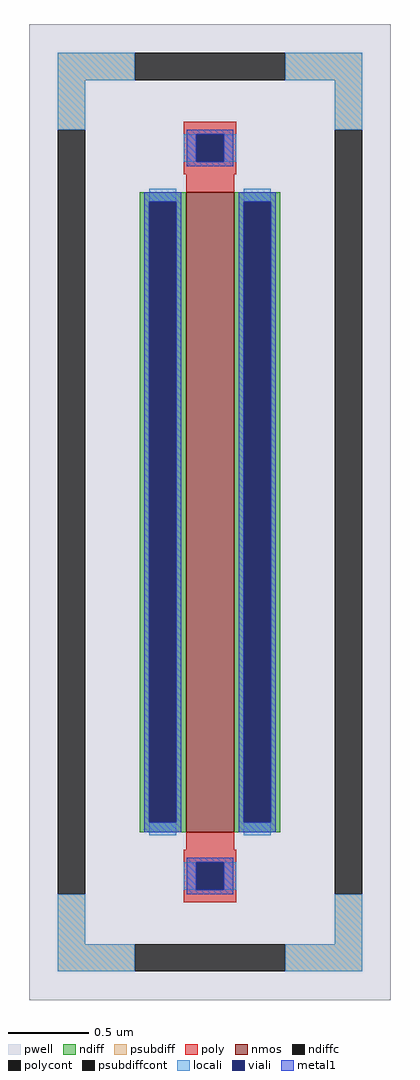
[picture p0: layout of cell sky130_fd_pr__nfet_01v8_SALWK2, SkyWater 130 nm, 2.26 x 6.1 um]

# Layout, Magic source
magic
tech sky130A
magscale 1 2
<< pwell >>
rect -226 -610 226 610
<< nmos >>
rect -30 -400 30 400
<< ndiff >>
rect -88 388 -30 400
rect -88 -388 -76 388
rect -42 -388 -30 388
rect -88 -400 -30 -388
rect 30 388 88 400
rect 30 -388 42 388
rect 76 -388 88 388
rect 30 -400 88 -388
<< ndiffc >>
rect -76 -388 -42 388
rect 42 -388 76 388
<< psubdiff >>
rect -190 540 -94 574
rect 94 540 190 574
rect -190 478 -156 540
rect 156 478 190 540
rect -190 -540 -156 -478
rect 156 -540 190 -478
rect -190 -574 -94 -540
rect 94 -574 190 -540
<< psubdiffcont >>
rect -94 540 94 574
rect -190 -478 -156 478
rect 156 -478 190 478
rect -94 -574 94 -540
<< poly >>
rect -33 472 33 488
rect -33 438 -17 472
rect 17 438 33 472
rect -33 422 33 438
rect -30 400 30 422
rect -30 -422 30 -400
rect -33 -438 33 -422
rect -33 -472 -17 -438
rect 17 -472 33 -438
rect -33 -488 33 -472
<< polycont >>
rect -17 438 17 472
rect -17 -472 17 -438
<< locali >>
rect -190 540 -94 574
rect 94 540 190 574
rect -190 478 -156 540
rect 156 478 190 540
rect -33 438 -17 472
rect 17 438 33 472
rect -76 388 -42 404
rect -76 -404 -42 -388
rect 42 388 76 404
rect 42 -404 76 -388
rect -33 -472 -17 -438
rect 17 -472 33 -438
rect -190 -540 -156 -478
rect 156 -540 190 -478
rect -190 -574 -94 -540
rect 94 -574 190 -540
<< viali >>
rect -17 438 17 472
rect -76 -388 -42 388
rect 42 -388 76 388
rect -17 -472 17 -438
<< metal1 >>
rect -29 472 29 478
rect -29 438 -17 472
rect 17 438 29 472
rect -29 432 29 438
rect -82 388 -36 400
rect -82 -388 -76 388
rect -42 -388 -36 388
rect -82 -400 -36 -388
rect 36 388 82 400
rect 36 -388 42 388
rect 76 -388 82 388
rect 36 -400 82 -388
rect -29 -438 29 -432
rect -29 -472 -17 -438
rect 17 -472 29 -438
rect -29 -478 29 -472
<< properties >>
string FIXED_BBOX -173 -557 173 557
string gencell sky130_fd_pr__nfet_01v8
string library sky130
string parameters w 4.0 l 0.3 m 1 nf 1 diffcov 100 polycov 100 guard 1 glc 1 grc 1 gtc 1 gbc 1 tbcov 100 rlcov 100 topc 1 botc 1 poverlap 0 doverlap 1 lmin 0.15 wmin 0.42 compatible {sky130_fd_pr__nfet_01v8 sky130_fd_pr__nfet_01v8_lvt  sky130_fd_bs_flash__special_sonosfet_star  sky130_fd_pr__nfet_g5v0d10v5 sky130_fd_pr__nfet_05v0_nvt  sky130_fd_pr__nfet_03v3_nvt} full_metal 1 viasrc 100 viadrn 100 viagate 100 viagb 0 viagr 0 viagl 0 viagt 0
<< end >>
